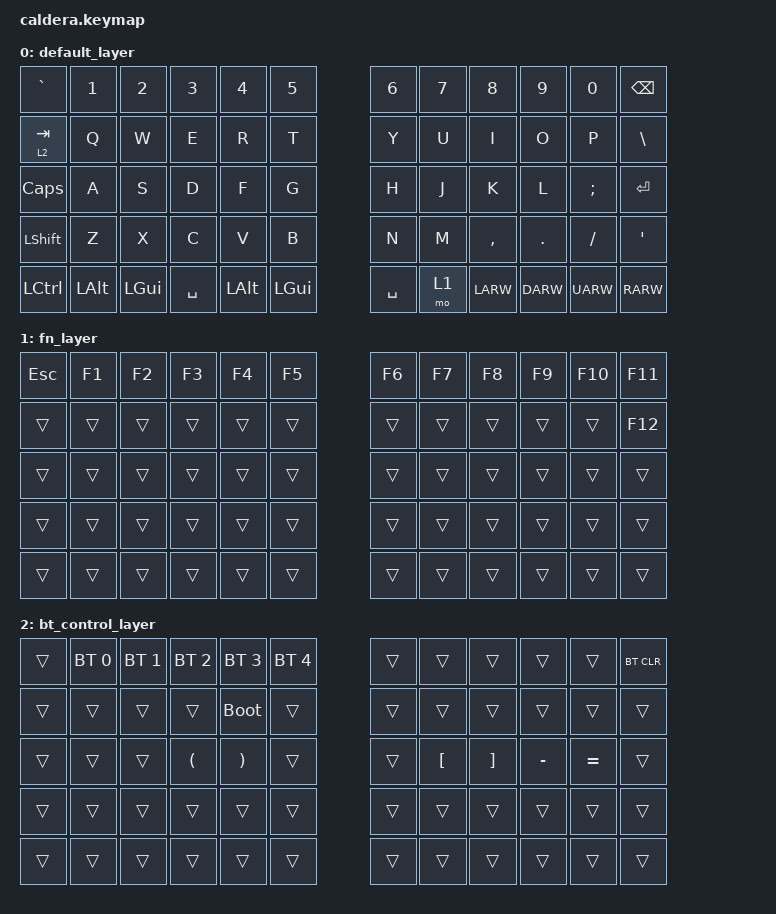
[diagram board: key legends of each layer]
#include <behaviors.dtsi>
#include <dt-bindings/zmk/keys.h>
#include <dt-bindings/zmk/bt.h>

/ {
    keymap {
        compatible = "zmk,keymap";

        // ---------------------------------------------------------------------------------
        // LAYER 0: 平時打字 (Default)
        // ---------------------------------------------------------------------------------
        // 說明：
        // - 左方 TAB 鍵：短按為 TAB，長按進入 Layer 2 (藍牙/重啟)
        // - 右下方 `mo 1` 鍵：長按進入 Layer 1 (F1-F12/ESC)
        default_layer {
            bindings = <
   &kp GRAVE  &kp N1    &kp N2    &kp N3     &kp N4     &kp N5               &kp N6     &kp N7  &kp N8     &kp N9    &kp N0    &kp BSPC
   &lt 2 TAB  &kp Q     &kp W     &kp E      &kp R      &kp T                &kp Y      &kp U   &kp I      &kp O     &kp P     &kp BSLH
   &kp CAPS   &kp A     &kp S     &kp D      &kp F      &kp G                &kp H      &kp J   &kp K      &kp L     &kp SEMI  &kp RET
   &kp LSHFT  &kp Z     &kp X     &kp C      &kp V      &kp B                &kp N      &kp M   &kp COMMA  &kp DOT   &kp FSLH  &kp APOS
   &kp LCTRL  &kp LALT  &kp LGUI  &kp SPACE  &kp LALT   &kp LGUI             &kp SPACE  &mo 1   &kp LARW   &kp DARW  &kp UARW  &kp RARW
            >;
        };

        // ---------------------------------------------------------------------------------
        // LAYER 1: ESC, F1-F12 及其他 Function (Fn Layer)
        // ---------------------------------------------------------------------------------
        // 說明：
        // - 按住 Layer 0 嘅 `mo 1` 觸發
        // - 第一排變成 ESC 同 F1-F11，第二排最右邊變成 F12
        fn_layer {
            bindings = <
   &kp ESC    &kp F1    &kp F2    &kp F3     &kp F4     &kp F5               &kp F6     &kp F7    &kp F8     &kp F9    &kp F10   &kp F11
   &trans     &trans    &trans    &trans     &trans     &trans               &trans     &trans    &trans     &trans    &trans    &kp F12
   &trans     &trans    &trans    &trans     &trans     &trans               &trans     &trans    &trans     &trans    &trans    &trans
   &trans     &trans    &trans    &trans     &trans     &trans               &trans     &trans    &trans     &trans    &trans    &trans
   &trans     &trans    &trans    &trans     &trans     &trans               &trans     &trans    &trans     &trans    &trans    &trans
            >;
        };

        // ---------------------------------------------------------------------------------
        // LAYER 2: Bluetooth + Function 控制層 (Control Layer)
        // ---------------------------------------------------------------------------------
        // 說明：
        // - 按住 Layer 0 嘅 `TAB` 觸發
        // - R 鍵 = Bootloader (進入刷機/Reset模式)
        // - 1-5 鍵 = 藍牙頻道 1-5
        // - Backspace 鍵 = 清除當前藍牙配對 (BT_CLR)
        bt_control_layer {
            bindings = <
   &trans     &bt BT_SEL 0 &bt BT_SEL 1 &bt BT_SEL 2 &bt BT_SEL 3 &bt BT_SEL 4       &trans    &trans    &trans   &trans   &trans  &bt BT_CLR
   &trans     &trans       &trans       &trans       &bootloader  &trans             &trans    &trans    &trans   &trans   &trans  &trans
   &trans     &trans       &trans       &kp LPAR     &kp RPAR     &trans             &trans    &kp LBKT  &kp RBKT &kp MINUS &kp EQUAL &trans
   &trans     &trans       &trans       &trans       &trans       &trans             &trans    &trans    &trans   &trans   &trans  &trans
   &trans     &trans       &trans       &trans       &trans       &trans             &trans    &trans    &trans   &trans   &trans  &trans
            >;
        };
    };
};
